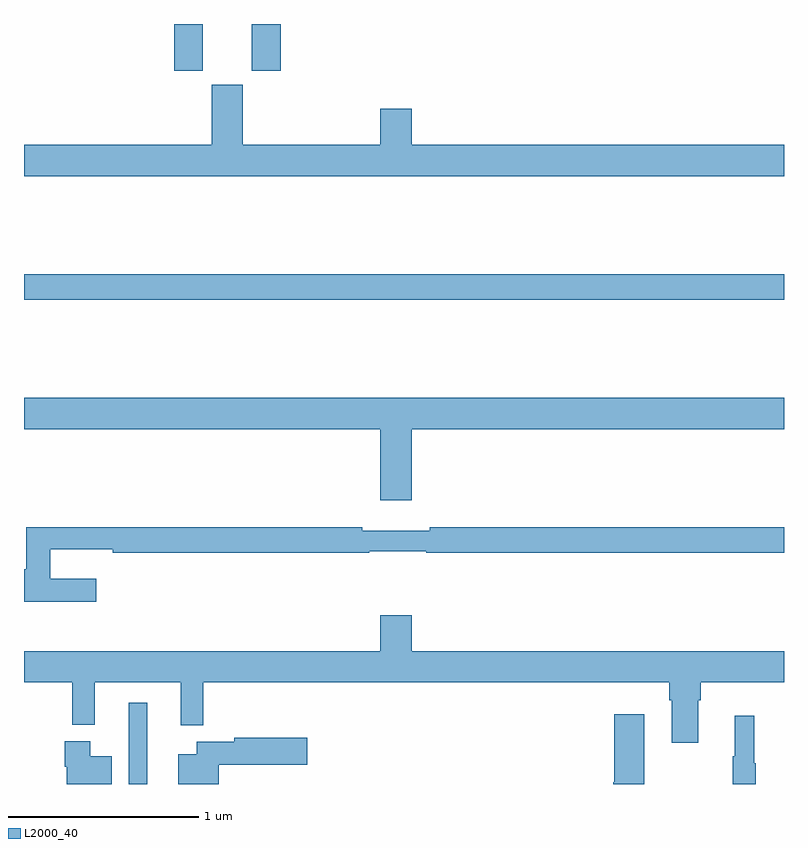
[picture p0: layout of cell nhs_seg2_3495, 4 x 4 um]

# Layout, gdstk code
import gdstk
lib = gdstk.Library(unit=1e-6, precision=1e-09)
def R(c, l, rs):  # rectangles x0, y0, x1, y1
    for r in rs: c.add(gdstk.rectangle(r[:2], r[2:], *l))
def P(c, l, *ps):  # polygons
    for p in ps: c.add(gdstk.Polygon(p, *l))
L2000_40 = (2000, 40)

nhs_seg2_3495 = lib.new_cell('nhs_seg2_3495')
R(nhs_seg2_3495, L2000_40, [(295.551,613.8,295.648,614.227), (295,616.348,299,616.484), (295.79,617.553,295.942,617.8), (296.198,617.553,296.351,617.8)])
P(nhs_seg2_3495, L2000_40, [(299,617.164),(297.04,617.164),(297.04,617.353),(296.876,617.353),(296.876,617.164),(296.152,617.164),(296.152,617.481),(295.988,617.481),(295.988,617.164),(295,617.164),(295,617),(299,617)],
  [(297.04,615.668),(299,615.668),(299,615.832),(295,615.832),(295,615.668),(296.876,615.668),(296.876,615.294),(297.04,615.294)],
  [(295.381,614.881),(295.139,614.881),(295.139,615.035),(295.468,615.035),(295.468,615.016),(296.816,615.016),(296.816,615.024),(297.116,615.024),(297.116,615.016),(299,615.016),(299,615.152),(297.136,615.152),(297.136,615.133),(296.78,615.133),(296.78,615.152),(295.011,615.152),(295.011,614.93),(295,614.93),(295,614.759),(295.381,614.759)],
  [(298.549,614.24),(298.562,614.24),(298.562,614.336),(299,614.336),(299,614.5),(297.04,614.5),(297.04,614.689),(296.876,614.689),(296.876,614.5),(295,614.5),(295,614.336),(295.255,614.336),(295.255,614.111),(295.373,614.111),(295.373,614.336),(295.826,614.336),(295.826,614.108),(295.943,614.108),(295.943,614.336),(298.397,614.336),(298.397,614.24),(298.409,614.24),(298.409,614.016),(298.549,614.016)],
  [(298.264,614.167),(298.106,614.167),(298.106,613.809),(298.1,613.809),(298.1,613.8),(298.264,613.8)],
  [(298.852,613.908),(298.844,613.908),(298.844,614.158),(298.742,614.158),(298.742,613.945),(298.731,613.945),(298.731,613.8),(298.852,613.8)],
  [(296.026,613.901),(296.491,613.901),(296.491,614.043),(296.106,614.043),(296.106,614.023),(295.91,614.023),(295.91,613.957),(295.811,613.957),(295.811,613.8),(296.026,613.8)],
  [(295.462,613.945),(295.348,613.945),(295.348,614.026),(295.214,614.026),(295.214,613.89),(295.226,613.89),(295.226,613.8),(295.462,613.8)])

lib.write_gds('nhs_seg2_3495.gds')
